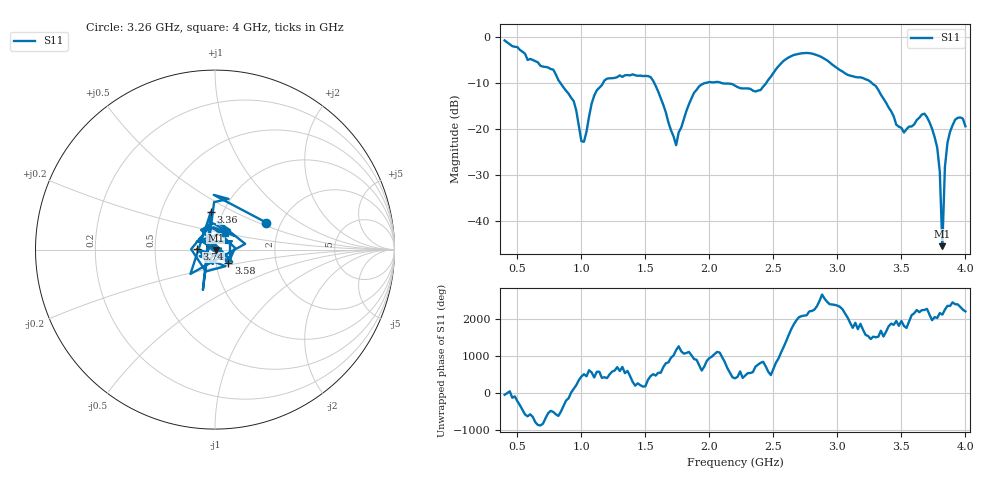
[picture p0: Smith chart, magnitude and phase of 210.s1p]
!Created with skrf (http://scikit-rf.org).
# Hz S RI R 50.0
!freq ReS11 ImS11
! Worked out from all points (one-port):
!   181 points, 400 MHz to 4 GHz, reference 50 ohm
!   lowest |S11| = -45.5 dB at 3.82 GHz (marker M1), VSWR 1.01, Z = 50.5 - j0.281 ohm
!   |S11| at or under -10 dB: 1.569 GHz to 1.976 GHz (406.9 MHz wide, 23 % of centre); 2.092 GHz to 2.445 GHz (352.2 MHz wide, 15.5 % of centre); 3.268 GHz to end of sweep (the widest 3 of 4)
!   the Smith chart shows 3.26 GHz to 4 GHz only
!   S11 on the Smith chart (normalised r, x): 3.26 GHz: 1.69, +0.56; 3.36 GHz: 0.88, +0.39; 3.58 GHz: 1.15, -0.18; 3.74 GHz: 0.82, +0.01; 4 GHz: 1.10, +0.20
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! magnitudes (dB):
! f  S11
! 400 MHz  -0.8
! 860 MHz  -11.0
! 940 MHz  -14.0
! 1.02 GHz  -22.8
! 1.12 GHz  -11.6
! 1.3 GHz  -8.4
! 1.54 GHz  -8.7
! 1.74 GHz  -23.5
! 1.76 GHz  -20.8
! 1.92 GHz  -10.8
! 2.2 GHz  -10.6
! 2.4 GHz  -11.6
! 2.66 GHz  -3.9
! 3.1 GHz  -8.4
! 3.26 GHz  -9.8
! 3.36 GHz  -13.4
! 3.46 GHz  -19.1
! 3.56 GHz  -19.5
! 3.58 GHz  -19.5
! 3.68 GHz  -16.7
! 3.74 GHz  -20.0
! 3.78 GHz  -24.1
! 3.8 GHz  -29.3
! 3.82 GHz  -45.5
! 3.84 GHz  -28.3
! 3.86 GHz  -23.0
! 3.92 GHz  -18.0
! 4 GHz  -19.4
